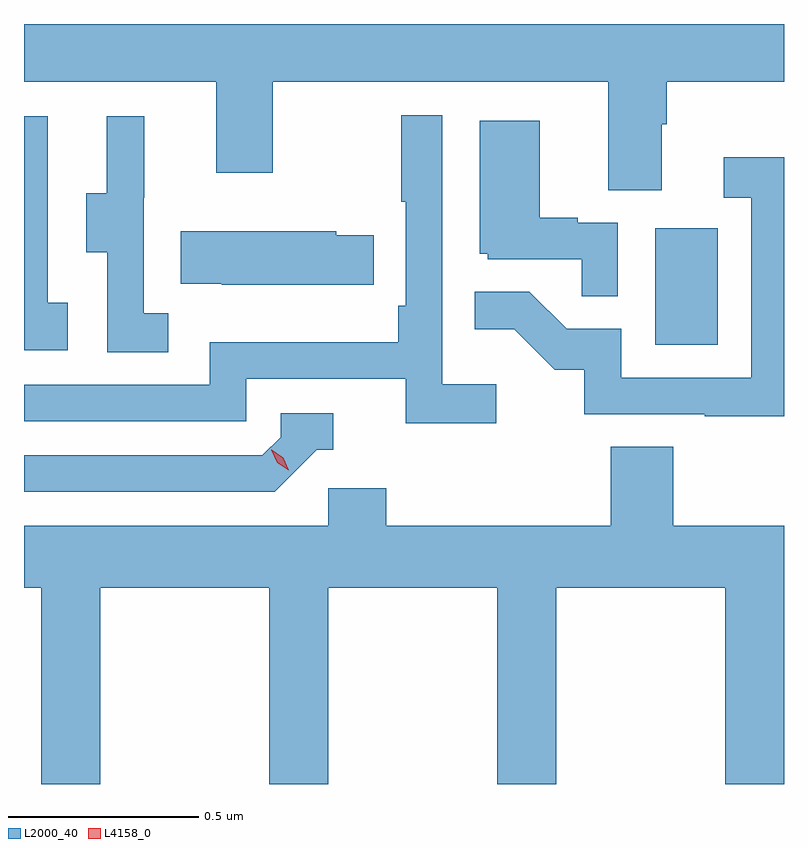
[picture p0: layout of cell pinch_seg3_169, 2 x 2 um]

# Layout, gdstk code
import gdstk
lib = gdstk.Library(unit=1e-6, precision=1e-09)
def R(c, l, rs):  # rectangles x0, y0, x1, y1
    for r in rs: c.add(gdstk.rectangle(r[:2], r[2:], *l))
def P(c, l, *ps):  # polygons
    for p in ps: c.add(gdstk.Polygon(p, *l))
L2000_40 = (2000, 40)
L4158_0 = (4158, 0)

pinch_seg3_169 = lib.new_cell('pinch_seg3_169')
R(pinch_seg3_169, L2000_40, [(1107.974,712.212,1108.138,712.519)])
P(pinch_seg3_169, L2000_40, [(1107.991,712.792),(1108.004,712.792),(1108.004,712.904),(1108.313,712.904),(1108.313,713.056),(1106.313,713.056),(1106.313,712.904),(1106.819,712.904),(1106.819,712.665),(1106.967,712.665),(1106.967,712.904),(1107.851,712.904),(1107.851,712.618),(1107.991,712.618)],
  [(1107.556,712.108),(1107.414,712.108),(1107.414,712.816),(1107.306,712.816),(1107.306,712.588),(1107.318,712.588),(1107.318,712.315),(1107.298,712.315),(1107.298,712.219),(1106.802,712.219),(1106.802,712.107),(1106.313,712.107),(1106.313,712.011),(1106.898,712.011),(1106.898,712.122),(1107.317,712.122),(1107.317,712.006),(1107.556,712.006)],
  [(1106.428,712.322),(1106.376,712.322),(1106.376,712.813),(1106.313,712.813),(1106.313,712.197),(1106.428,712.197)],
  [(1106.692,712.295),(1106.628,712.295),(1106.628,712.599),(1106.63,712.599),(1106.63,712.813),(1106.531,712.813),(1106.531,712.611),(1106.477,712.611),(1106.477,712.456),(1106.532,712.456),(1106.532,712.192),(1106.692,712.192)],
  [(1107.876,712.533),(1107.77,712.533),(1107.77,712.546),(1107.67,712.546),(1107.67,712.801),(1107.512,712.801),(1107.512,712.452),(1107.534,712.452),(1107.534,712.437),(1107.781,712.437),(1107.781,712.339),(1107.876,712.339)],
  [(1108.313,712.705),(1108.155,712.705),(1108.155,712.599),(1108.227,712.599),(1108.227,712.125),(1107.885,712.125),(1107.885,712.254),(1107.741,712.254),(1107.643,712.352),(1107.499,712.352),(1107.499,712.253),(1107.603,712.253),(1107.71,712.146),(1107.787,712.146),(1107.787,712.029),(1108.105,712.029),(1108.105,712.024),(1108.313,712.024)],
  [(1107.233,712.5),(1107.135,712.5),(1107.135,712.51),(1106.725,712.51),(1106.725,712.373),(1106.833,712.373),(1106.833,712.37),(1107.233,712.37)],
  [(1107.084,711.936),(1107.127,711.936),(1107.127,712.032),(1106.988,712.032),(1106.988,711.969),(1106.94,711.921),(1106.313,711.921),(1106.313,711.825),(1106.973,711.825)],
  [(1106.514,711.572),(1106.959,711.572),(1106.959,711.056),(1107.114,711.056),(1107.114,711.572),(1107.559,711.572),(1107.559,711.056),(1107.714,711.056),(1107.714,711.572),(1108.159,711.572),(1108.159,711.056),(1108.313,711.056),(1108.313,711.736),(1108.022,711.736),(1108.022,711.944),(1107.857,711.944),(1107.857,711.736),(1107.266,711.736),(1107.266,711.834),(1107.114,711.834),(1107.114,711.736),(1106.313,711.736),(1106.313,711.572),(1106.359,711.572),(1106.359,711.056),(1106.514,711.056)])
P(pinch_seg3_169, L4158_0, [(1107.01,711.882),(1106.98,711.902),(1106.964,711.935),(1106.964,711.935),(1106.965,711.935),(1106.995,711.915),(1107.01,711.882),(1107.01,711.882)])

lib.write_gds('pinch_seg3_169.gds')
